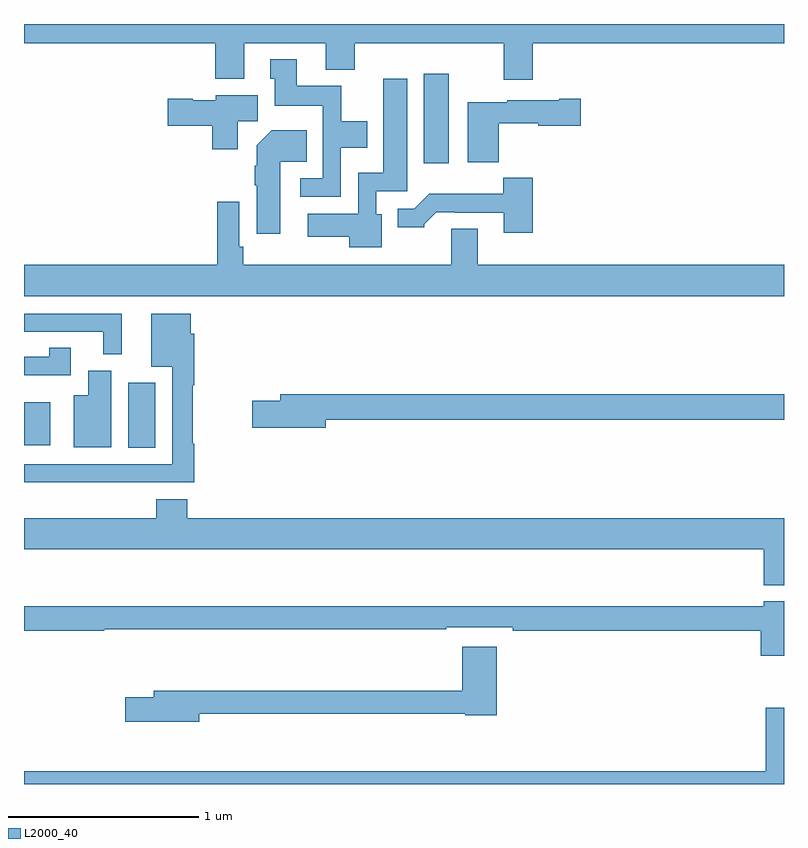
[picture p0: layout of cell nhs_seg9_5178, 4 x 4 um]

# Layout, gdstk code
import gdstk
lib = gdstk.Library(unit=1e-6, precision=1e-09)
def R(c, l, rs):  # rectangles x0, y0, x1, y1
    for r in rs: c.add(gdstk.rectangle(r[:2], r[2:], *l))
def P(c, l, *ps):  # polygons
    for p in ps: c.add(gdstk.Polygon(p, *l))
L2000_40 = (2000, 40)

nhs_seg9_5178 = lib.new_cell('nhs_seg9_5178')
R(nhs_seg9_5178, L2000_40, [(411.548,1214.269,411.691,1214.611), (411,1214.282,411.139,1214.509), (413.105,1215.768,413.236,1216.237)])
P(nhs_seg9_5178, L2000_40, [(413.678,1216.4),(415,1216.4),(415,1216.5),(411,1216.5),(411,1216.4),(412.007,1216.4),(412.007,1216.211),(412.159,1216.211),(412.159,1216.4),(412.589,1216.4),(412.589,1216.259),(412.742,1216.259),(412.742,1216.4),(413.525,1216.4),(413.525,1216.206),(413.678,1216.206)],
  [(412.668,1215.848),(412.807,1215.848),(412.807,1215.988),(412.671,1215.988),(412.671,1216.174),(412.435,1216.174),(412.435,1216.315),(412.295,1216.315),(412.295,1216.212),(412.319,1216.212),(412.319,1216.07),(412.572,1216.07),(412.572,1215.687),(412.455,1215.687),(412.455,1215.591),(412.668,1215.591)],
  [(412.882,1215.498),(412.854,1215.498),(412.854,1215.621),(413.017,1215.621),(413.017,1216.213),(412.892,1216.213),(412.892,1215.718),(412.758,1215.718),(412.758,1215.502),(412.494,1215.502),(412.494,1215.38),(412.711,1215.38),(412.711,1215.326),(412.882,1215.326)],
  [(412.126,1215.988),(412.231,1215.988),(412.231,1216.126),(412.008,1216.126),(412.008,1216.099),(411.888,1216.099),(411.888,1216.107),(411.756,1216.107),(411.756,1215.965),(411.992,1215.965),(411.992,1215.84),(412.126,1215.84)],
  [(413.498,1215.977),(413.706,1215.977),(413.706,1215.965),(413.929,1215.965),(413.929,1216.107),(413.816,1216.107),(413.816,1216.099),(413.544,1216.099),(413.544,1216.087),(413.336,1216.087),(413.336,1215.773),(413.498,1215.773)],
  [(412.348,1215.776),(412.487,1215.776),(412.487,1215.94),(412.304,1215.94),(412.226,1215.862),(412.226,1215.755),(412.214,1215.755),(412.214,1215.652),(412.226,1215.652),(412.226,1215.396),(412.348,1215.396)],
  [(413.678,1215.691),(413.523,1215.691),(413.523,1215.607),(413.134,1215.607),(413.055,1215.528),(412.967,1215.528),(412.967,1215.431),(413.106,1215.431),(413.106,1215.446),(413.17,1215.51),(413.269,1215.51),(413.269,1215.507),(413.525,1215.507),(413.525,1215.402),(413.678,1215.402)],
  [(415,1215.232),(413.389,1215.232),(413.389,1215.422),(413.249,1215.422),(413.249,1215.232),(412.154,1215.232),(412.154,1215.328),(412.134,1215.328),(412.134,1215.565),(412.018,1215.565),(412.018,1215.232),(411,1215.232),(411,1215.068),(415,1215.068)],
  [(411.514,1214.976),(411,1214.976),(411,1214.88),(411.416,1214.88),(411.416,1214.761),(411.514,1214.761)],
  [(411.611,1214.088),(411.896,1214.088),(411.896,1214.291),(411.889,1214.291),(411.889,1214.6),(411.896,1214.6),(411.896,1214.87),(411.877,1214.87),(411.877,1214.974),(411.671,1214.974),(411.671,1214.696),(411.78,1214.696),(411.78,1214.184),(411,1214.184),(411,1214.088),(411.061,1214.088),(411.061,1214.087),(411.611,1214.087)],
  [(411.247,1214.795),(411.134,1214.795),(411.134,1214.749),(411,1214.749),(411,1214.651),(411.247,1214.651)],
  [(411.46,1214.676),(411.338,1214.676),(411.338,1214.545),(411.263,1214.545),(411.263,1214.273),(411.46,1214.273)],
  [(412.588,1214.416),(415,1214.416),(415,1214.552),(412.349,1214.552),(412.349,1214.516),(412.2,1214.516),(412.2,1214.374),(412.588,1214.374)],
  [(415,1213.9),(411.86,1213.9),(411.86,1213.999),(411.695,1213.999),(411.695,1213.9),(411,1213.9),(411,1213.736),(414.893,1213.736),(414.893,1213.547),(415,1213.547)],
  [(415,1213.462),(414.894,1213.462),(414.894,1213.435),(411,1213.435),(411,1213.306),(411.422,1213.306),(411.422,1213.314),(413.222,1213.314),(413.222,1213.326),(413.572,1213.326),(413.572,1213.306),(414.878,1213.306),(414.878,1213.176),(415,1213.176)],
  [(411.922,1212.87),(413.322,1212.87),(413.322,1212.862),(413.489,1212.862),(413.489,1213.222),(413.306,1213.222),(413.306,1212.991),(411.683,1212.991),(411.683,1212.957),(411.534,1212.957),(411.534,1212.827),(411.922,1212.827)],
  [(415,1212.901),(414.904,1212.901),(414.904,1212.568),(411,1212.568),(411,1212.5),(415,1212.5)])

lib.write_gds('nhs_seg9_5178.gds')
